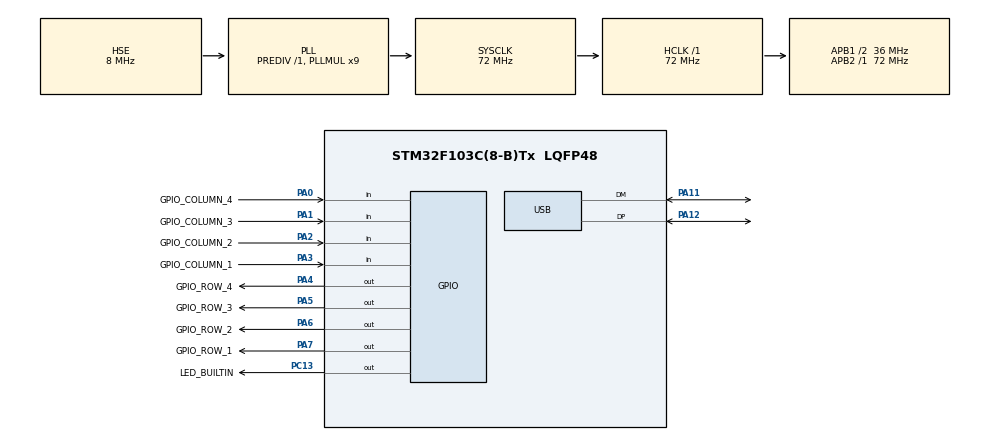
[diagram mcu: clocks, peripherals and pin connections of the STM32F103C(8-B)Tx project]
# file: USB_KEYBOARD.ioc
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Mcu.Family=STM32F1
Mcu.Name=STM32F103C(8-B)Tx
Mcu.Package=LQFP48
NVIC.PriorityGroup=NVIC_PRIORITYGROUP_4
NVIC.USB_LP_CAN1_RX0_IRQn=true\:0\:0\:false\:false\:true\:false\:true
PA0-WKUP.GPIO_Label=GPIO_COLUMN_4
PA0-WKUP.GPIO_PuPd=GPIO_PULLUP
PA0-WKUP.Signal=GPIO_Input
PA1.GPIO_Label=GPIO_COLUMN_3
PA1.GPIO_PuPd=GPIO_PULLUP
PA1.Signal=GPIO_Input
PA11.Mode=Device
PA11.Signal=USB_DM
PA12.Mode=Device
PA12.Signal=USB_DP
PA13.Mode=Serial_Wire
PA13.Signal=SYS_JTMS-SWDIO
PA14.Mode=Serial_Wire
PA14.Signal=SYS_JTCK-SWCLK
PA2.GPIO_Label=GPIO_COLUMN_2
PA2.GPIO_PuPd=GPIO_PULLUP
PA2.Signal=GPIO_Input
PA3.GPIO_Label=GPIO_COLUMN_1
PA3.GPIO_PuPd=GPIO_PULLUP
PA3.Signal=GPIO_Input
PA4.GPIO_Label=GPIO_ROW_4
PA4.Signal=GPIO_Output
PA5.GPIO_Label=GPIO_ROW_3
PA5.Signal=GPIO_Output
PA6.GPIO_Label=GPIO_ROW_2
PA6.Signal=GPIO_Output
PA7.GPIO_Label=GPIO_ROW_1
PA7.Signal=GPIO_Output
PC13-TAMPER-RTC.GPIO_Label=LED_BUILTIN
PC13-TAMPER-RTC.Signal=GPIO_Output
PD0-OSC_IN.Mode=HSE-External-Oscillator
PD0-OSC_IN.Signal=RCC_OSC_IN
PD1-OSC_OUT.Mode=HSE-External-Oscillator
PD1-OSC_OUT.Signal=RCC_OSC_OUT
ProjectManager.HeapSize=0x200
ProjectManager.StackSize=0x400
ProjectManager.TargetToolchain=STM32CubeIDE
RCC.AHBFreq_Value=72000000
RCC.APB1CLKDivider=RCC_HCLK_DIV2
RCC.APB1Freq_Value=36000000
RCC.APB1TimFreq_Value=72000000
RCC.APB2Freq_Value=72000000
RCC.APB2TimFreq_Value=72000000
RCC.HCLKFreq_Value=72000000
RCC.PLLMUL=RCC_PLL_MUL9
RCC.SYSCLKFreq_VALUE=72000000
RCC.SYSCLKSource=RCC_SYSCLKSOURCE_PLLCLK
RCC.USBFreq_Value=48000000
RCC.USBPrescaler=RCC_USBCLKSOURCE_PLL_DIV1_5
USB_DEVICE.CLASS_NAME_FS=HID
USB_DEVICE.MANUFACTURER_STRING=Casai
USB_DEVICE.PRODUCT_STRING_HID_FS=Casai Test
USB_DEVICE.VirtualMode=Hid
USB_DEVICE.VirtualModeFS=Hid_FS
VP_USB_DEVICE_VS_USB_DEVICE_HID_FS.Mode=HID_FS
board=custom

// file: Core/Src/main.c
/* USER CODE BEGIN Header */
/**
  ******************************************************************************
  * @file           : main.c
  * @brief          : Main program body
  ******************************************************************************
  * @attention
  *
  * <h2><center>&copy; Copyright (c) 2021 STMicroelectronics.
  * All rights reserved.</center></h2>
  *
  * This software component is licensed by ST under BSD 3-Clause license,
  * the "License"; You may not use this file except in compliance with the
  * License. You may obtain a copy of the License at:
  *                        opensource.org/licenses/BSD-3-Clause
  *
  ******************************************************************************
  */
/* USER CODE END Header */
#include "main.h"
#include "usb_device.h"
#include <stdlib.h>
#include <search.h>
/* USER CODE BEGIN Includes */
#include "usbd_hid.h"
/* USER CODE END Includes */

void SystemClock_Config(void);
static void MX_GPIO_Init(void);
/* USER CODE BEGIN PFP */
char read_keypad(void);

void send_char_HID(uint8_t keycode, uint8_t modifier);
void release_key_HID(void);

void test_routine_one(void);
void test_routine_two(void);
/* USER CODE END PFP */

/* USER CODE BEGIN 0 */
extern USBD_HandleTypeDef hUsbDeviceFS;

typedef struct{
	uint8_t MODIFIER;
    uint8_t RESERVED;
    uint8_t KEYCODE1;
    uint8_t KEYCODE2;
    uint8_t KEYCODE3;
    uint8_t KEYCODE4;
    uint8_t KEYCODE5;
    uint8_t KEYCODE6;
} keyboard_HID_t;

/* CHARACTER DEFINITIONS  */
#define RELEASE_USB_CHAR 	0x00
#define A_USB_CHAR 			0x04
#define B_USB_CHAR 			0x05
#define C_USB_CHAR 			0x06
#define D_USB_CHAR 			0x07
#define E_USB_CHAR          0x08
#define F_USB_CHAR          0x09
#define G_USB_CHAR          0x0A
#define H_USB_CHAR          0x0B
#define I_USB_CHAR          0x0C
#define J_USB_CHAR          0x0D
#define K_USB_CHAR          0x0E
#define L_USB_CHAR          0x0F
#define M_USB_CHAR          0x10
#define N_USB_CHAR          0x11
#define N_TILDE_USB_CHAR    0x33
#define O_USB_CHAR          0x12
#define P_USB_CHAR          0x13
#define Q_USB_CHAR          0x14
#define R_USB_CHAR          0x15
#define S_USB_CHAR          0x16
#define T_USB_CHAR          0x17
#define U_USB_CHAR          0x18
#define V_USB_CHAR          0x19
#define W_USB_CHAR          0x1A
#define X_USB_CHAR          0x1B
#define Y_USB_CHAR          0x1C
#define Z_USB_CHAR          0x1D

#define NUM_1_USB_CHAR      0x1E
#define NUM_2_USB_CHAR      0x1F
#define NUM_3_USB_CHAR      0x20
#define NUM_4_USB_CHAR      0x21
#define NUM_5_USB_CHAR      0x22
#define NUM_6_USB_CHAR      0x23
#define NUM_7_USB_CHAR      0x24
#define NUM_8_USB_CHAR      0x25
#define NUM_9_USB_CHAR      0x26
#define NUM_0_USB_CHAR      0x27

/* SPECIAL CHARACTER DEFINITIONS  */

#define USB_CHAR_parenthesis_l  0x25  	// (
#define USB_CHAR_parenthesis_r  0x26  	// )
#define USB_CHAR_spacebar       0x2C
#define USB_CHAR_right_bracket	0x30	// ]
#define USB_CHAR_asterisk       0x33  	// sin shift +, con shift *
#define USB_CHAR_semicolon		0x36	// sin shift , , con shift ;

/* MODIFIER DEFINITIONS  */

#define CLEAR       0x00
#define LEFT_SHIFT  0x02
#define RIGHT_SHIFT 0x20

keyboard_HID_t casai_keyboard = {0};

char keypad_char = '!';

// ENTRY e;
// ENTRY *ep;

// const char USB_chars[] = {
//   '1','2','3','4','5','6',
//   '7','8','9','0','A','B',
//   'C','E','F','G','H','I',
//   'J','K','L','M','N','O',
//   'P','Q','R','S','T','U',
//   'V','W','X','Y','Z'
// };

// const uint8_t KEYCODE_MAPPING[] = {
//   NUM_1_USB_CHAR,   NUM_2_USB_CHAR,   NUM_3_USB_CHAR,   NUM_4_USB_CHAR, NUM_5_USB_CHAR, NUM_6_USB_CHAR,
//   NUM_7_USB_CHAR,   NUM_8_USB_CHAR,   NUM_9_USB_CHAR,   NUM_0_USB_CHAR, A_USB_CHAR,     B_USB_CHAR,
//   C_USB_CHAR,       D_USB_CHAR,       E_USB_CHAR,       F_USB_CHAR,     G_USB_CHAR,     H_USB_CHAR, I_USB_CHAR,
//   J_USB_CHAR,       K_USB_CHAR,       L_USB_CHAR,       M_USB_CHAR,     N_USB_CHAR,     O_USB_CHAR,
//   P_USB_CHAR,       Q_USB_CHAR,       R_USB_CHAR,       S_USB_CHAR,     T_USB_CHAR,     U_USB_CHAR,
//   V_USB_CHAR,       W_USB_CHAR,       X_USB_CHAR,       Y_USB_CHAR,     Z_USB_CHAR,
// };

/* USER CODE END 0 */

int main(void)
{
  /* USER CODE BEGIN 1 */

  //  const size_t capacity = sizeof(USB_chars) / sizeof(USB_chars[0]);
  //  hcreate(capacity);

  //  for (size_t i = 0; i < capacity - 2; i++) {
  //      e.key = USB_chars[i];
  //      e.data = (void *) KEYCODE_MAPPING[i];

  //      ep = hsearch(e, ENTER);

  //  }
  /* USER CODE END 1 */

  /* MCU Configuration--------------------------------------------------------*/

  /* Reset of all peripherals, Initializes the Flash interface and the Systick. */
  HAL_Init();

  /* Configure the system clock */
  SystemClock_Config();

  /* Initialize all configured peripherals */
  MX_GPIO_Init();
  MX_USB_DEVICE_Init();

  /* Infinite loop */
  while (1)
  {

    /* USER CODE BEGIN 3 */

	  keypad_char = read_keypad();

	  if(keypad_char != '!'){
		HAL_GPIO_TogglePin(LED_BUILTIN_GPIO_Port, LED_BUILTIN_Pin);
    switch (keypad_char){
      case '1': send_char_HID(NUM_1_USB_CHAR, CLEAR); break;
      case '2': send_char_HID(NUM_2_USB_CHAR, CLEAR); break;
      case '3': send_char_HID(NUM_3_USB_CHAR, CLEAR); break;
      case '4': send_char_HID(NUM_4_USB_CHAR, CLEAR); break;
      case '5': send_char_HID(NUM_5_USB_CHAR, CLEAR); break;
      case '6': send_char_HID(NUM_6_USB_CHAR, CLEAR); break;
      case '7': send_char_HID(NUM_7_USB_CHAR, CLEAR); break;
      case '8': send_char_HID(NUM_8_USB_CHAR, CLEAR); break;
      case '9': send_char_HID(NUM_9_USB_CHAR, CLEAR); break;
      case '0': send_char_HID(NUM_0_USB_CHAR, CLEAR); break;

      case 'A': send_char_HID(A_USB_CHAR, LEFT_SHIFT); break;
      case 'B': send_char_HID(B_USB_CHAR, LEFT_SHIFT); break;
      case 'C': send_char_HID(C_USB_CHAR, LEFT_SHIFT); break;
      case 'D': send_char_HID(D_USB_CHAR, LEFT_SHIFT); break;
      case 'E': send_char_HID(E_USB_CHAR, LEFT_SHIFT); break;
      case 'F': send_char_HID(F_USB_CHAR, LEFT_SHIFT); break;
      case 'G': send_char_HID(G_USB_CHAR, LEFT_SHIFT); break;
      case 'H': send_char_HID(H_USB_CHAR, LEFT_SHIFT); break;
      case 'I': send_char_HID(I_USB_CHAR, LEFT_SHIFT); break;
      case 'J': send_char_HID(J_USB_CHAR, LEFT_SHIFT); break;
      case 'K': send_char_HID(K_USB_CHAR, LEFT_SHIFT); break;
      case 'L': send_char_HID(L_USB_CHAR, LEFT_SHIFT); break;
      case 'M': send_char_HID(M_USB_CHAR, LEFT_SHIFT); break;
      case 'N': send_char_HID(N_USB_CHAR, LEFT_SHIFT); break;
      case 'O': send_char_HID(O_USB_CHAR, LEFT_SHIFT); break;
      case 'P': send_char_HID(P_USB_CHAR, LEFT_SHIFT); break;
      case 'Q': send_char_HID(Q_USB_CHAR, LEFT_SHIFT); break;
      case 'R': send_char_HID(R_USB_CHAR, LEFT_SHIFT); break;
      case 'S': send_char_HID(S_USB_CHAR, LEFT_SHIFT); break;
      case 'T': send_char_HID(T_USB_CHAR, LEFT_SHIFT); break;
      case 'U': send_char_HID(U_USB_CHAR, LEFT_SHIFT); break;
      case 'V': send_char_HID(V_USB_CHAR, LEFT_SHIFT); break;
      case 'W': send_char_HID(W_USB_CHAR, LEFT_SHIFT); break;
      case 'X': send_char_HID(X_USB_CHAR, LEFT_SHIFT); break;
      case 'Y': send_char_HID(Y_USB_CHAR, LEFT_SHIFT); break;
      case 'Z': send_char_HID(Z_USB_CHAR, LEFT_SHIFT); break;
      case '*': test_routine_one(); break;
      case '#': test_routine_two(); break;
      // case '*': send_char_HID(NUM_8_USB_CHAR, LEFT_SHIFT); break;
      // case '#': send_char_HID(NUM_3_USB_CHAR, LEFT_SHIFT); break;

      default: send_char_HID(X_USB_CHAR, LEFT_SHIFT); break;
    }

		// e.key = keypad_char;
		// ep = hsearch(e, FIND);
		// casai_keyboard.KEYCODE1 = (char)(ep->data);

	  }
  }
  /* USER CODE END 3 */
}

void SystemClock_Config(void)
{
  RCC_OscInitTypeDef RCC_OscInitStruct = {0};
  RCC_ClkInitTypeDef RCC_ClkInitStruct = {0};
  RCC_PeriphCLKInitTypeDef PeriphClkInit = {0};

  /** Initializes the RCC Oscillators according to the specified parameters
  * in the RCC_OscInitTypeDef structure.
  */
  RCC_OscInitStruct.OscillatorType = RCC_OSCILLATORTYPE_HSE;
  RCC_OscInitStruct.HSEState = RCC_HSE_ON;
  RCC_OscInitStruct.HSEPredivValue = RCC_HSE_PREDIV_DIV1;
  RCC_OscInitStruct.HSIState = RCC_HSI_ON;
  RCC_OscInitStruct.PLL.PLLState = RCC_PLL_ON;
  RCC_OscInitStruct.PLL.PLLSource = RCC_PLLSOURCE_HSE;
  RCC_OscInitStruct.PLL.PLLMUL = RCC_PLL_MUL9;
  if (HAL_RCC_OscConfig(&RCC_OscInitStruct) != HAL_OK)
  {
    Error_Handler();
  }
  /** Initializes the CPU, AHB and APB buses clocks
  */
  RCC_ClkInitStruct.ClockType = RCC_CLOCKTYPE_HCLK|RCC_CLOCKTYPE_SYSCLK
                              |RCC_CLOCKTYPE_PCLK1|RCC_CLOCKTYPE_PCLK2;
  RCC_ClkInitStruct.SYSCLKSource = RCC_SYSCLKSOURCE_PLLCLK;
  RCC_ClkInitStruct.AHBCLKDivider = RCC_SYSCLK_DIV1;
  RCC_ClkInitStruct.APB1CLKDivider = RCC_HCLK_DIV2;
  RCC_ClkInitStruct.APB2CLKDivider = RCC_HCLK_DIV1;

  if (HAL_RCC_ClockConfig(&RCC_ClkInitStruct, FLASH_LATENCY_2) != HAL_OK)
  {
    Error_Handler();
  }
  PeriphClkInit.PeriphClockSelection = RCC_PERIPHCLK_USB;
  PeriphClkInit.UsbClockSelection = RCC_USBCLKSOURCE_PLL_DIV1_5;
  if (HAL_RCCEx_PeriphCLKConfig(&PeriphClkInit) != HAL_OK)
  {
    Error_Handler();
  }
}

static void MX_GPIO_Init(void)
{
  GPIO_InitTypeDef GPIO_InitStruct = {0};

  /* GPIO Ports Clock Enable */
  __HAL_RCC_GPIOC_CLK_ENABLE();
  __HAL_RCC_GPIOD_CLK_ENABLE();
  __HAL_RCC_GPIOA_CLK_ENABLE();

  /*Configure GPIO pin Output Level */
  HAL_GPIO_WritePin(LED_BUILTIN_GPIO_Port, LED_BUILTIN_Pin, GPIO_PIN_RESET);

  /*Configure GPIO pin Output Level */
  HAL_GPIO_WritePin(GPIOA, GPIO_ROW_4_Pin|GPIO_ROW_3_Pin|GPIO_ROW_2_Pin|GPIO_ROW_1_Pin, GPIO_PIN_RESET);

  /*Configure GPIO pin : LED_BUILTIN_Pin */
  GPIO_InitStruct.Pin = LED_BUILTIN_Pin;
  GPIO_InitStruct.Mode = GPIO_MODE_OUTPUT_PP;
  GPIO_InitStruct.Pull = GPIO_NOPULL;
  GPIO_InitStruct.Speed = GPIO_SPEED_FREQ_LOW;
  HAL_GPIO_Init(LED_BUILTIN_GPIO_Port, &GPIO_InitStruct);

  /*Configure GPIO pins : GPIO_COLUMN_4_Pin GPIO_COLUMN_3_Pin GPIO_COLUMN_2_Pin GPIO_COLUMN_1_Pin */
  GPIO_InitStruct.Pin = GPIO_COLUMN_4_Pin|GPIO_COLUMN_3_Pin|GPIO_COLUMN_2_Pin|GPIO_COLUMN_1_Pin;
  GPIO_InitStruct.Mode = GPIO_MODE_INPUT;
  GPIO_InitStruct.Pull = GPIO_PULLUP;
  HAL_GPIO_Init(GPIOA, &GPIO_InitStruct);

  /*Configure GPIO pins : GPIO_ROW_4_Pin GPIO_ROW_3_Pin GPIO_ROW_2_Pin GPIO_ROW_1_Pin */
  GPIO_InitStruct.Pin = GPIO_ROW_4_Pin|GPIO_ROW_3_Pin|GPIO_ROW_2_Pin|GPIO_ROW_1_Pin;
  GPIO_InitStruct.Mode = GPIO_MODE_OUTPUT_PP;
  GPIO_InitStruct.Pull = GPIO_NOPULL;
  GPIO_InitStruct.Speed = GPIO_SPEED_FREQ_LOW;
  HAL_GPIO_Init(GPIOA, &GPIO_InitStruct);

}

/* USER CODE BEGIN 4 */
char read_keypad(void){
	/* Make ROW 1 LOW and all other ROWs HIGH */
	HAL_GPIO_WritePin(GPIO_ROW_1_GPIO_Port, GPIO_ROW_1_Pin, GPIO_PIN_RESET);// Pull the R1 low
	HAL_GPIO_WritePin(GPIO_ROW_2_GPIO_Port, GPIO_ROW_2_Pin, GPIO_PIN_SET);  // Pull the R2 High
	HAL_GPIO_WritePin(GPIO_ROW_3_GPIO_Port, GPIO_ROW_3_Pin, GPIO_PIN_SET);  // Pull the R3 High
	HAL_GPIO_WritePin(GPIO_ROW_4_GPIO_Port, GPIO_ROW_4_Pin, GPIO_PIN_SET);  // Pull the R4 High

	if(!(HAL_GPIO_ReadPin(GPIO_COLUMN_1_GPIO_Port, GPIO_COLUMN_1_Pin))){			// if the Col 1 is low
		while (!(HAL_GPIO_ReadPin (GPIO_COLUMN_1_GPIO_Port, GPIO_COLUMN_1_Pin)));   // wait till the button is pressed
    return '1';
	}

	if (!(HAL_GPIO_ReadPin (GPIO_COLUMN_2_GPIO_Port, GPIO_COLUMN_2_Pin))){
		while (!(HAL_GPIO_ReadPin (GPIO_COLUMN_2_GPIO_Port, GPIO_COLUMN_2_Pin)));   // wait till the button is pressed
    return '2';
	}

	if (!(HAL_GPIO_ReadPin (GPIO_COLUMN_3_GPIO_Port, GPIO_COLUMN_3_Pin))){
		while (!(HAL_GPIO_ReadPin (GPIO_COLUMN_3_GPIO_Port, GPIO_COLUMN_3_Pin)));   // wait till the button is pressed
    return '3';
	}

	if (!(HAL_GPIO_ReadPin (GPIO_COLUMN_4_GPIO_Port, GPIO_COLUMN_4_Pin))){
		while (!(HAL_GPIO_ReadPin (GPIO_COLUMN_4_GPIO_Port, GPIO_COLUMN_4_Pin)));   // wait till the button is pressed
		return 'A';
	}

	/* Make ROW 2 LOW and all other ROWs HIGH */
	HAL_GPIO_WritePin(GPIO_ROW_1_GPIO_Port, GPIO_ROW_1_Pin, GPIO_PIN_SET);  // Pull the R1 high
	HAL_GPIO_WritePin(GPIO_ROW_2_GPIO_Port, GPIO_ROW_2_Pin, GPIO_PIN_RESET);// Pull the R2 low
	HAL_GPIO_WritePin(GPIO_ROW_3_GPIO_Port, GPIO_ROW_3_Pin, GPIO_PIN_SET);  // Pull the R3 High
	HAL_GPIO_WritePin(GPIO_ROW_4_GPIO_Port, GPIO_ROW_4_Pin, GPIO_PIN_SET);  // Pull the R4 High

	if(!(HAL_GPIO_ReadPin(GPIO_COLUMN_1_GPIO_Port, GPIO_COLUMN_1_Pin))){			// if the Col 1 is low
		while (!(HAL_GPIO_ReadPin (GPIO_COLUMN_1_GPIO_Port, GPIO_COLUMN_1_Pin)));   // wait till the button is pressed
    return '4';
	}

	if (!(HAL_GPIO_ReadPin (GPIO_COLUMN_2_GPIO_Port, GPIO_COLUMN_2_Pin))){
		while (!(HAL_GPIO_ReadPin (GPIO_COLUMN_2_GPIO_Port, GPIO_COLUMN_2_Pin)));   // wait till the button is pressed
		return '5';
	}

	if (!(HAL_GPIO_ReadPin (GPIO_COLUMN_3_GPIO_Port, GPIO_COLUMN_3_Pin))){
		while (!(HAL_GPIO_ReadPin (GPIO_COLUMN_3_GPIO_Port, GPIO_COLUMN_3_Pin)));   // wait till the button is pressed
    return '6';
	}

	if (!(HAL_GPIO_ReadPin (GPIO_COLUMN_4_GPIO_Port, GPIO_COLUMN_4_Pin))){
		while (!(HAL_GPIO_ReadPin (GPIO_COLUMN_4_GPIO_Port, GPIO_COLUMN_4_Pin)));   // wait till the button is pressed
		return 'B';
	}
	/* Make ROW 1 LOW and all other ROWs HIGH */
	HAL_GPIO_WritePin(GPIO_ROW_1_GPIO_Port, GPIO_ROW_1_Pin, GPIO_PIN_SET);// Pull the R1 High
	HAL_GPIO_WritePin(GPIO_ROW_2_GPIO_Port, GPIO_ROW_2_Pin, GPIO_PIN_SET);  // Pull the R2 High
	HAL_GPIO_WritePin(GPIO_ROW_3_GPIO_Port, GPIO_ROW_3_Pin, GPIO_PIN_RESET);  // Pull the R3 low
	HAL_GPIO_WritePin(GPIO_ROW_4_GPIO_Port, GPIO_ROW_4_Pin, GPIO_PIN_SET);  // Pull the R4 High

	if(!(HAL_GPIO_ReadPin(GPIO_COLUMN_1_GPIO_Port, GPIO_COLUMN_1_Pin))){			// if the Col 1 is low
		while (!(HAL_GPIO_ReadPin (GPIO_COLUMN_1_GPIO_Port, GPIO_COLUMN_1_Pin)));   // wait till the button is pressed
    return '7';
	}

	if (!(HAL_GPIO_ReadPin (GPIO_COLUMN_2_GPIO_Port, GPIO_COLUMN_2_Pin))){
		while (!(HAL_GPIO_ReadPin (GPIO_COLUMN_2_GPIO_Port, GPIO_COLUMN_2_Pin)));   // wait till the button is pressed
    return '8';
	}

	if (!(HAL_GPIO_ReadPin (GPIO_COLUMN_3_GPIO_Port, GPIO_COLUMN_3_Pin))){
		while (!(HAL_GPIO_ReadPin (GPIO_COLUMN_3_GPIO_Port, GPIO_COLUMN_3_Pin)));   // wait till the button is pressed
    return '9';
	}

	if (!(HAL_GPIO_ReadPin (GPIO_COLUMN_4_GPIO_Port, GPIO_COLUMN_4_Pin))){
		while (!(HAL_GPIO_ReadPin (GPIO_COLUMN_4_GPIO_Port, GPIO_COLUMN_4_Pin)));   // wait till the button is pressed
		return 'C';
	}
	/* Make ROW 1 LOW and all other ROWs HIGH */
	HAL_GPIO_WritePin(GPIO_ROW_1_GPIO_Port, GPIO_ROW_1_Pin, GPIO_PIN_SET);// Pull the R1 High
	HAL_GPIO_WritePin(GPIO_ROW_2_GPIO_Port, GPIO_ROW_2_Pin, GPIO_PIN_SET);  // Pull the R2 High
	HAL_GPIO_WritePin(GPIO_ROW_3_GPIO_Port, GPIO_ROW_3_Pin, GPIO_PIN_SET);  // Pull the R3 High
	HAL_GPIO_WritePin(GPIO_ROW_4_GPIO_Port, GPIO_ROW_4_Pin, GPIO_PIN_RESET);  // Pull the R4 low

	if(!(HAL_GPIO_ReadPin(GPIO_COLUMN_1_GPIO_Port, GPIO_COLUMN_1_Pin))){			// if the Col 1 is low
		while (!(HAL_GPIO_ReadPin (GPIO_COLUMN_1_GPIO_Port, GPIO_COLUMN_1_Pin)));   // wait till the button is pressed
    	return '*';
	}

	if (!(HAL_GPIO_ReadPin (GPIO_COLUMN_2_GPIO_Port, GPIO_COLUMN_2_Pin))){
		while (!(HAL_GPIO_ReadPin (GPIO_COLUMN_2_GPIO_Port, GPIO_COLUMN_2_Pin)));   // wait till the button is pressed
		return '0';
	}

	if (!(HAL_GPIO_ReadPin (GPIO_COLUMN_3_GPIO_Port, GPIO_COLUMN_3_Pin))){
		while (!(HAL_GPIO_ReadPin (GPIO_COLUMN_3_GPIO_Port, GPIO_COLUMN_3_Pin)));   // wait till the button is pressed
		return '#';
	}

	if (!(HAL_GPIO_ReadPin (GPIO_COLUMN_4_GPIO_Port, GPIO_COLUMN_4_Pin))){
		while (!(HAL_GPIO_ReadPin (GPIO_COLUMN_4_GPIO_Port, GPIO_COLUMN_4_Pin)));   // wait till the button is pressed
		return 'D';
	}

	return '!';
}

void send_char_HID(uint8_t keycode, uint8_t modifier){
  casai_keyboard.MODIFIER = modifier;
  casai_keyboard.KEYCODE1 = keycode;
  USBD_HID_SendReport(&hUsbDeviceFS, &casai_keyboard, sizeof(casai_keyboard));
  HAL_Delay(100);
  release_key_HID();
  HAL_Delay(20);
}

void release_key_HID(void){
		casai_keyboard.MODIFIER = RELEASE_USB_CHAR;
		casai_keyboard.KEYCODE1 = RELEASE_USB_CHAR;
		casai_keyboard.KEYCODE2 = RELEASE_USB_CHAR;
		casai_keyboard.KEYCODE3 = RELEASE_USB_CHAR;
		casai_keyboard.KEYCODE4 = RELEASE_USB_CHAR;
		casai_keyboard.KEYCODE5 = RELEASE_USB_CHAR;
		casai_keyboard.KEYCODE6 = RELEASE_USB_CHAR;
		USBD_HID_SendReport(&hUsbDeviceFS, &casai_keyboard, sizeof(casai_keyboard));
}

void test_routine_one(void){
    send_char_HID(H_USB_CHAR, LEFT_SHIFT);
    send_char_HID(E_USB_CHAR, CLEAR);
    send_char_HID(L_USB_CHAR, CLEAR);
    send_char_HID(L_USB_CHAR, CLEAR);
    send_char_HID(O_USB_CHAR, CLEAR);
    send_char_HID(USB_CHAR_spacebar, CLEAR);
    send_char_HID(W_USB_CHAR, CLEAR);
    send_char_HID(O_USB_CHAR, CLEAR);
    send_char_HID(R_USB_CHAR, CLEAR);
    send_char_HID(L_USB_CHAR, CLEAR);
    send_char_HID(D_USB_CHAR, CLEAR);
    send_char_HID(USB_CHAR_spacebar, CLEAR);
    send_char_HID(USB_CHAR_semicolon, LEFT_SHIFT);
    send_char_HID(USB_CHAR_parenthesis_r, LEFT_SHIFT);
}

void test_routine_two(void){
	casai_keyboard.MODIFIER = RELEASE_USB_CHAR;
	casai_keyboard.KEYCODE1 = C_USB_CHAR;
	casai_keyboard.KEYCODE2 = A_USB_CHAR;
	casai_keyboard.KEYCODE3 = S_USB_CHAR;
	casai_keyboard.KEYCODE4 = A_USB_CHAR;
	casai_keyboard.KEYCODE5 = I_USB_CHAR;
	casai_keyboard.KEYCODE6 = RELEASE_USB_CHAR;
	USBD_HID_SendReport(&hUsbDeviceFS, &casai_keyboard, sizeof(casai_keyboard));
	HAL_Delay(100);
	release_key_HID();
	HAL_Delay(20);
}
/* USER CODE END 4 */

void Error_Handler(void)
{
}

/************************ (C) COPYRIGHT STMicroelectronics *****END OF FILE****/
